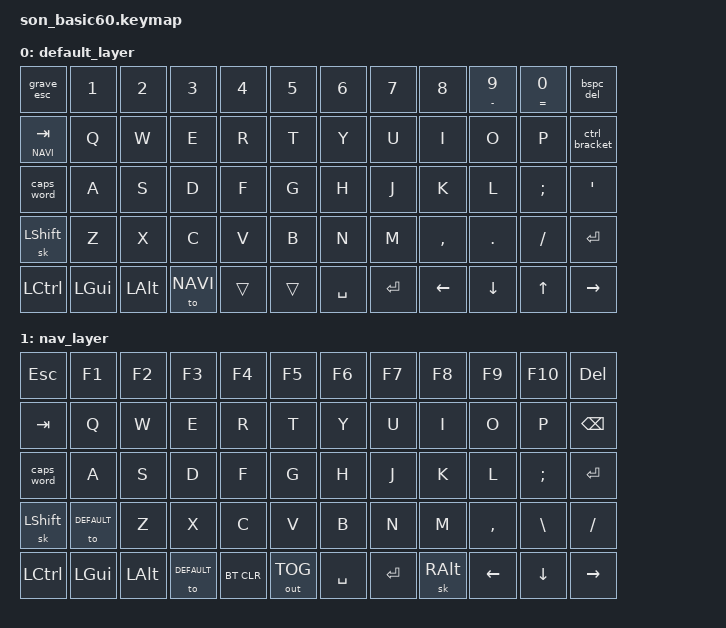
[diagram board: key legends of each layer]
#include <behaviors.dtsi>
#include <dt-bindings/zmk/bt.h>
#include <dt-bindings/zmk/keys.h>
#include <dt-bindings/zmk/outputs.h>

#define DEFAULT 0
#define NAVI    1

&mt {
    tapping-term-ms = <200>;
};

/ {
    behaviors {
        // Left shift + Backspace = Delete
        bspc_del: backspace_delete {
            compatible = "zmk,behavior-mod-morph";
            #binding-cells = <0>;
            bindings = <&kp BACKSPACE>, <&kp DELETE>;
            mods = <(MOD_LSFT|MOD_RSFT)>;
            keep-mods = <(MOD_RSFT)>;
        };
        // Left control + left bracket = right bracket
        ctrl_bracket: ctrl_bracket {
            compatible = "zmk,behavior-mod-morph";
            #binding-cells = <0>;
            bindings = <&kp LEFT_BRACKET>, <&kp RIGHT_BRACKET>;
            mods = <MOD_LCTL>;
            keep-mods = <(MOD_LSFT)>;
        };
        // Left control + Escape = grave/tilda
        grave_esc: grave_esc {
            compatible = "zmk,behavior-mod-morph";
            #binding-cells = <0>;
            bindings = <&kp ESC>, <&kp GRAVE>;
            mods = <MOD_LCTL>;
            keep-mods = <(MOD_LSFT)>;
        };
    };

    keymap {
        compatible = "zmk,keymap";

        default_layer {
            bindings = <
            &grave_esc   &kp N1   &kp N2   &kp N3     &kp N4  &kp N5  &kp N6    &kp N7  &kp N8    &mt MINUS N9 &mt EQUAL N0 &bspc_del
            &lt NAVI TAB &kp Q    &kp W    &kp E      &kp R   &kp T   &kp Y     &kp U   &kp I     &kp O        &kp P        &ctrl_bracket
            &caps_word   &kp A    &kp S    &kp D      &kp F   &kp G   &kp H     &kp J   &kp K     &kp L        &kp SEMI     &kp SINGLE_QUOTE
            &sk LSHIFT   &kp Z    &kp X    &kp C      &kp V   &kp B   &kp N     &kp M   &kp COMMA &kp DOT      &kp SLASH    &kp RET
            &kp LCTRL    &kp LGUI &kp LALT &to NAVI   &trans  &trans  &kp SPACE &kp RET &kp LEFT  &kp DOWN     &kp UP       &kp RIGHT
            >;
        };

        nav_layer {
            bindings = <
            &kp ESC    &kp F1      &kp F2   &kp F3      &kp F4     &kp F5       &kp F6    &kp F7    &kp F8    &kp F9     &kp F10       &kp DEL
            &kp TAB    &kp Q       &kp W    &kp E       &kp R      &kp T        &kp Y     &kp U     &kp I     &kp O      &kp P         &kp BSPC
            &caps_word &kp A       &kp S    &kp D       &kp F      &kp G        &kp H     &kp J     &kp K     &kp L      &kp SEMI      &kp RET
            &sk LSHIFT &to DEFAULT &kp Z    &kp X       &kp C      &kp V        &kp B     &kp N     &kp M     &kp COMMA  &kp BACKSLASH &kp SLASH
            &kp LCTRL  &kp LGUI    &kp LALT &to DEFAULT &bt BT_CLR &out OUT_TOG &kp SPACE &kp RET   &sk RALT  &kp LEFT   &kp DOWN      &kp RIGHT
            >;
        };
    };
};
